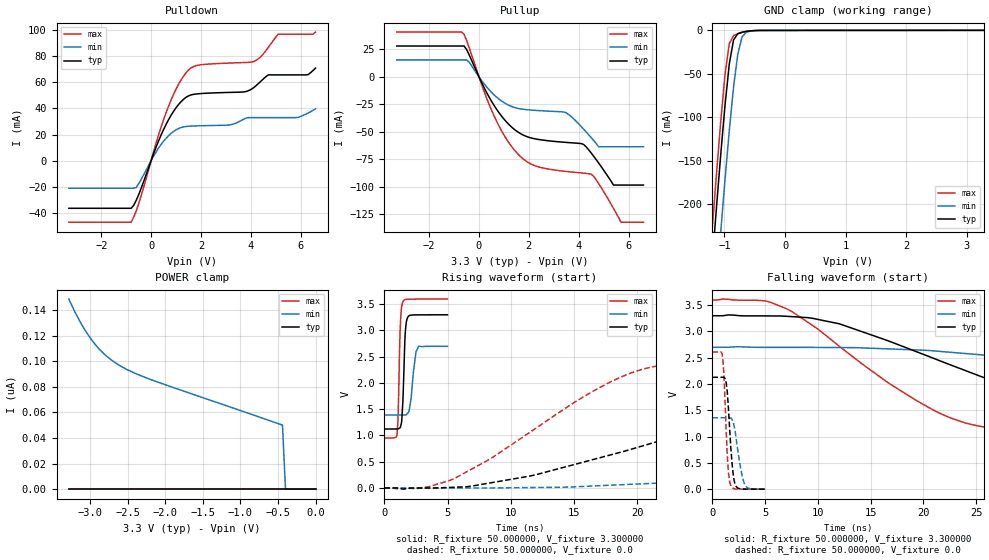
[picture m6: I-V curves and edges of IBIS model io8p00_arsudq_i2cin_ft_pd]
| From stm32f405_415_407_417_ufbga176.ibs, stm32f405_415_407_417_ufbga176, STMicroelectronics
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|   Model io8p00_arsudq_i2cin_ft_pd
[Model]  io8p00_arsudq_i2cin_ft_pd
Model_type I/O
Polarity   Non-Inverting
Enable   Active-Low
Vinl =   0.990000V
Vinh =   2.310000V
Vmeas =  1.650000V
Cref =   50.000000pF
Rref =   100.000000M
Vref =   0.0V
C_comp   2.280000pF   2.217000pF   2.355700pF
[Temperature Range]   25.000000   0.125000k   -40.000000
[Pullup Reference]   3.300000V   2.700000V   3.600000V
[Pulldown Reference]   0.0V   0.0V   0.0V
[POWER Clamp Reference]   3.300000V   2.700000V   3.600000V
[GND Clamp Reference]   0.0V   0.0V   0.0V
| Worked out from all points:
|   slope of the pulldown table from 0 to 0.495 V, typ, clamps not added: 20.9 ohm
|   slope of the pullup table from 0 to 0.495 V, typ, clamps not added: 22.6 ohm
|   GND clamp passes 1 mA (typ) near -0.62 V on its own axis
|   rising waveform, R_fixture 50.000000, V_fixture 3.300000: 20-80 % time 190ps typ, 341ps min, 164ps max; typ from 1.12 V to 3.3 V
|   rising waveform, R_fixture 50.000000, V_fixture 0.0: 20-80 % time 19.7ns typ, 51ns min, 10.4ns max; typ from 0 V to 2.13 V
|   falling waveform, R_fixture 50.000000, V_fixture 3.300000: 20-80 % time 18.4ns typ, 39.7ns min, 11.3ns max; typ from 3.3 V to 1.12 V
|   falling waveform, R_fixture 50.000000, V_fixture 0.0: 20-80 % time 433ps typ, 633ps min, 343ps max; typ from 2.13 V to 0 V
[Pulldown]
|Voltage   I(typ)   I(min)   I(max)
-3.3V     -36.46mA   -21.1mA    -47.09mA
-800mV    -36.46mA   -21.1mA    -47.09mA
-600mV    -30.5mA    -20.54mA   -38.69mA
700mV     31.4mA     19.11mA    41.71mA
1.2V      45.15mA    25.37mA    61.75mA
1.6V      50.35mA    26.5mA     71.06mA
3.1V      52.27mA    27.26mA    74.75mA
4.1V      55.7mA     32.99mA    75.8mA
4.7V      65.72mA    32.99mA    86.69mA
5.1V      65.72mA    32.99mA    96.9mA
6.3V      65.87mA    36.5mA     96.9mA
6.6V      70.93mA    39.71mA    98.5mA
[Pullup]
|Voltage   I(typ)   I(min)   I(max)
-3.3V     28.03mA    15.43mA    40.69mA
-700mV    28.03mA    15.43mA    40.69mA
-400mV    20.31mA    13.47mA    26.93mA
600mV     -25.77mA   -16.23mA   -35.13mA
1.6V      -50.64mA   -28.81mA   -70.96mA
3.5V      -59.53mA   -32.65mA   -85.92mA
4.2V      -61.43mA   -47.48mA   -87.46mA
4.5V      -69.06mA   -55.12mA   -88.38mA
4.8V      -78.22mA   -63.5mA    -96.84mA
5.4V      -98.3mA    -63.5mA    -119.6mA
5.7V      -98.3mA    -63.5mA    -132mA
6.6V      -98.3mA    -63.5mA    -132mA
[GND_clamp]
|Voltage   I(typ)   I(min)   I(max)
-3.3V     -2.318A    -2.397A    -2.291A
-1.2V     -265.5mA   -356.1mA   -227.2mA
-1.13V    -202.7mA   -292.9mA   -164.1mA
-1.06V    -142.2mA   -231.2mA   -104.1mA
-990mV    -85.98mA   -171.6mA   -50.73mA
-920mV    -38.81mA   -115.5mA   -15.29mA
-850mV    -11.09mA   -65.61mA   -6.016mA
-780mV    -3.793mA   -27.42mA   -3.89mA
-710mV    -2.098mA   -7.698mA   -2.396mA
-640mV    -1.159mA   -2.127mA   -1.234mA
-570mV    -535.1uA   -807.4uA   -490.2uA
3.28V     81.28uA    57.87uA    93.98uA
[POWER_clamp]
|Voltage   I(typ)   I(min)   I(max)
-3.28V    0A         148.5nA    0A
-3.2V     0A         138.6nA    0A
-3.12V    0A         129.7nA    0A
-3.04V    0A         122nA      0A
-2.96V    0A         115.3nA    0A
-2.8V     0A         105.1nA    0A
-2.6V     0A         96.44nA    0A
-2.4V     0A         90.52nA    0A
-2.16V    0A         84.97nA    0A
-440mV    0A         50.04nA    0A
-400mV    0A         0A         0A
0V        0A         0A         0A
[Ramp]
| variable   typ   min   max
dV/dt_r  1.27668/19.70627n   0.81486/51.02219n   1.56648/10.33869n
dV/dt_f  1.30548/18.39280n   0.78504/39.75867n   1.58747/11.31113n
R_load = 50.000000
[Rising Waveform]
R_fixture= 50.000000
V_fixture= 3.300000
V_fixture_min= 2.700000
V_fixture_max= 3.600000
|time   V(typ)   V(min)   V(max)
0s        1.123V     1.39V      953.1mV
1.001ns   1.125V     1.391V     1.025V
1.071ns   1.127V     1.391V     1.307V
1.291ns   1.183V     1.391V     3.268V
1.461ns   1.669V     1.389V     3.546V
1.632ns   2.893V     1.392V     3.588V
1.852ns   3.257V     1.427V     3.595V
2.503ns   3.297V     2.598V     3.598V
2.713ns   3.298V     2.7V       3.598V
4.985ns   3.299V     2.699V     3.599V
[Rising Waveform]
R_fixture= 50.000000
V_fixture= 0.0
V_fixture_min= 0.0
V_fixture_max= 0.0
|time   V(typ)   V(min)   V(max)
0s        11.07nV    245.8nV    19.43nV
5.506ns   13.85mV    -134.5uV   176.9mV
11.51ns   227.4mV    8.057mV    1.062V
19.52ns   738.3mV    70.21mV    2.192V
29.53ns   1.426V     200mV      2.52V
38.04ns   1.841V     350.9mV    2.579V
48.55ns   2.013V     540.4mV    2.598V
88.59ns   2.119V     1.133V     2.611V
116.6ns   2.127V     1.295V     2.611V
249.2ns   2.128V     1.358V     2.611V
[Falling Waveform]
R_fixture= 50.000000
V_fixture= 3.300000
V_fixture_min= 2.700000
V_fixture_max= 3.600000
|time   V(typ)   V(min)   V(max)
0s        3.299V     2.699V     3.599V
5.506ns   3.295V     2.697V     3.556V
12.01ns   3.146V     2.693V     2.721V
22.02ns   2.405V     2.613V     1.401V
31.53ns   1.716V     2.431V     1.069V
37.54ns   1.442V     2.286V     1.025V
46.55ns   1.274V     2.064V     992.6mV
62.56ns   1.183V     1.738V     967.8mV
90.59ns   1.141V     1.509V     955.5mV
249.2ns   1.123V     1.39V      953.1mV
[Falling Waveform]
R_fixture= 50.000000
V_fixture= 0.0
V_fixture_min= 0.0
V_fixture_max= 0.0
|time   V(typ)   V(min)   V(max)
0s        2.128V     1.358V     2.611V
981ps     2.129V     1.357V     2.504V
1.151ns   2.118V     1.357V     1.941V
1.411ns   1.864V     1.358V     680.4mV
1.542ns   1.481V     1.36V      292.9mV
1.742ns   823.7mV    1.353V     74.7mV
2.152ns   97.41mV    1.115V     5.116mV
2.823ns   2.542mV    251.9mV    218.1uV
3.123ns   773.1uV    71.02mV    111.2uV
4.985ns   11.07nV    245.8nV    19.43nV
